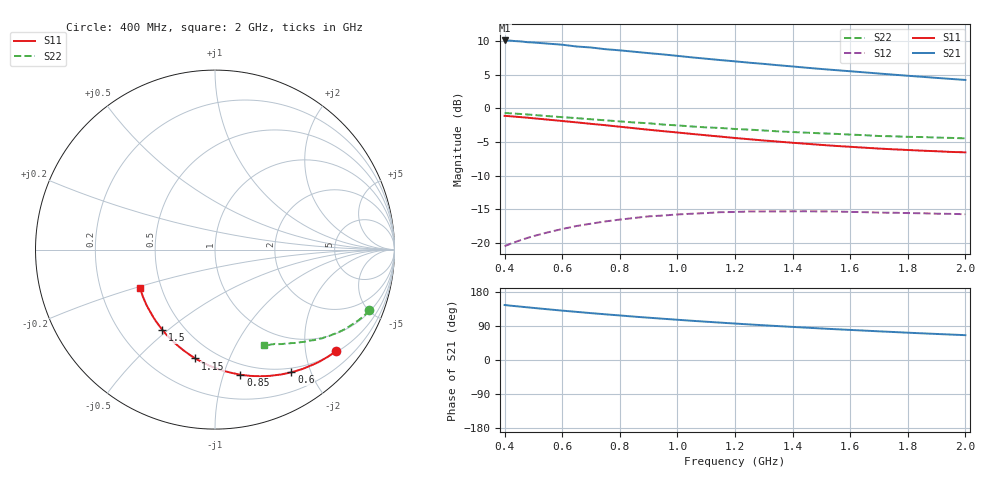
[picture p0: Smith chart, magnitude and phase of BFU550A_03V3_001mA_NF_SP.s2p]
! Filename:  P:\Prog\Test\Noise\ATS_data\Testdata_Net\06 Compressed Noise after Statistics\BFU550A_APG2013_35_C05_03p3V_001mA_NF_CM01_D.sf
! Date/Time: Tue 16/Apr/2013 15:11:38
! BFU550A_APG2013_35_C05_03p3V_1to35mA_NF_CM01_Bias1_R.sf
! Noise Parameter Data File
! BFU550A_APG2013_35_C05_03p3V_1to35mA_NF_CM01
! Date/time: Mon Apr 15 15:23:40 2013
! freq range =  0.4000 to  2.0000 GHz, 37 points
! bias range =  0.9950 to 35.0000 mA, 8 points
! bias supplies used: 1 1 0 0 0 0
! VAR bias_mode= 1  ! Specify V_out, I_out
! VAR bias_var = 1  ! Bias variable = I_out
! VAR V_out= 3.300000
! VAR I_out= 0.995000
! VAR V_in= 0.783800
! VAR I_in= 0.010401
! Device data file deembeded for feedlines and parallel
! Original file: \06 Compressed Noise after Statistics\BFU550A_APG2013_35_C05_03p3V_001mA_NF_CM01_R.sf
! Feed-files: PR017V01_150413_Feed1.s2p, PR017V01_150413_Feed2.s2p
! Parallel-file: PR017V01_150413_Par.s2p
# MHz S MA R 50
!  Freq-MHz  S11-mag  S11-arg  S21-mag  S21-arg  S12-mag  S12-arg  S22-mag  S22-arg
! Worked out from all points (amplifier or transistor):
!   37 points, 400 MHz to 2 GHz, reference 50 ohm
!   highest |S21| = 10.1 dB at 400 MHz (marker M1)
!   |S21| within 3 dB of that: start of sweep to 1.171 GHz
!   unconditionally stable (mu >= 1): nowhere
!   at 500 MHz: K = 0.23, MSG = 14.4 dB, |S12| = -19.0 dB
!   at 1.1 GHz: K = 0.48, MSG = 11.5 dB, |S12| = -15.6 dB
!   at 2 GHz: K = 0.88, MSG = 10.0 dB, |S12| = -15.8 dB
!   lowest NFmin = 0.47 dB at 420 MHz
!   S11 on the Smith chart (normalised r, x): 400 MHz: 0.53, -2.66; 600 MHz: 0.44, -1.71; 850 MHz: 0.40, -1.14; 1.15 GHz: 0.39, -0.76; 1.5 GHz: 0.38, -0.48; 2 GHz: 0.38, -0.21
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400  0.8805 -39.9  3.202 145.1  0.09424 64.9  0.9243 -21.5
420  0.8732 -41.9  3.194 143.4  0.09806 63.8  0.9184 -22.4
460  0.8587 -45.6  3.144 140.5  0.1053 61.7  0.9069 -24.2
480  0.8522 -47.3  3.106 138.9  0.1086 60.6  0.8998 -25.1
500  0.8438 -49.2  3.093 137.5  0.1119 59.6  0.8935 -25.9
550  0.8246 -53.8  3.033 133.8  0.1194 57.2  0.8758 -28.0
600  0.8054 -58.1  2.977 130.3  0.1265 55.0  0.8601 -30.0
650  0.7866 -62.2  2.887 127.0  0.1332 52.9  0.8461 -31.7
700  0.7671 -66.5  2.838 123.7  0.1386 50.8  0.8293 -33.6
750  0.7492 -70.4  2.756 120.6  0.144 49.0  0.8146 -35.1
800  0.7301 -74.5  2.703 117.5  0.1486 47.2  0.8 -36.8
850  0.7115 -78.5  2.639 114.5  0.1528 45.4  0.7853 -38.3
950  0.6769 -86.1  2.521 108.9  0.1593 42.4  0.758 -41.2
1050  0.6454 -93.2  2.397 103.5  0.1643 39.8  0.7333 -43.7
1150  0.6162 -100.4  2.287 98.6  0.1688 37.4  0.7145 -46.0
1200  0.6017 -103.8  2.239 96.2  0.1693 36.4  0.702 -47.3
1350  0.5657 -113.7  2.094 89.5  0.171 34.0  0.6742 -50.5
1500  0.5346 -123.4  1.964 83.2  0.171 32.2  0.6519 -53.6
1600  0.5176 -129.4  1.889 79.4  0.1695 31.7  0.6379 -55.6
1750  0.4956 -138.5  1.782 73.9  0.1672 31.7  0.6197 -58.3
1850  0.4842 -144.2  1.717 70.4  0.1656 31.9  0.6118 -60.2
2000  0.4708 -152.8  1.628 65.5  0.1629 33.4  0.5982 -62.9
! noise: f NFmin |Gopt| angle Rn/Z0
400  0.5056  0.694  21.79  0.3401
460  0.5297  0.6758  27.7  0.3576
600  0.5688  0.6515  38.26  0.325
800  0.63  0.5991  51.31  0.2613
1000  0.6892  0.6043  64.63  0.2338
1200  0.7807  0.5802  74.77  0.2365
1400  0.7775  0.5554  88.3  0.1965
1600  0.8506  0.5244  101.4  0.1593
1800  0.745  0.5015  122  0.1048
2000  0.9229  0.499  129.8  0.0971
